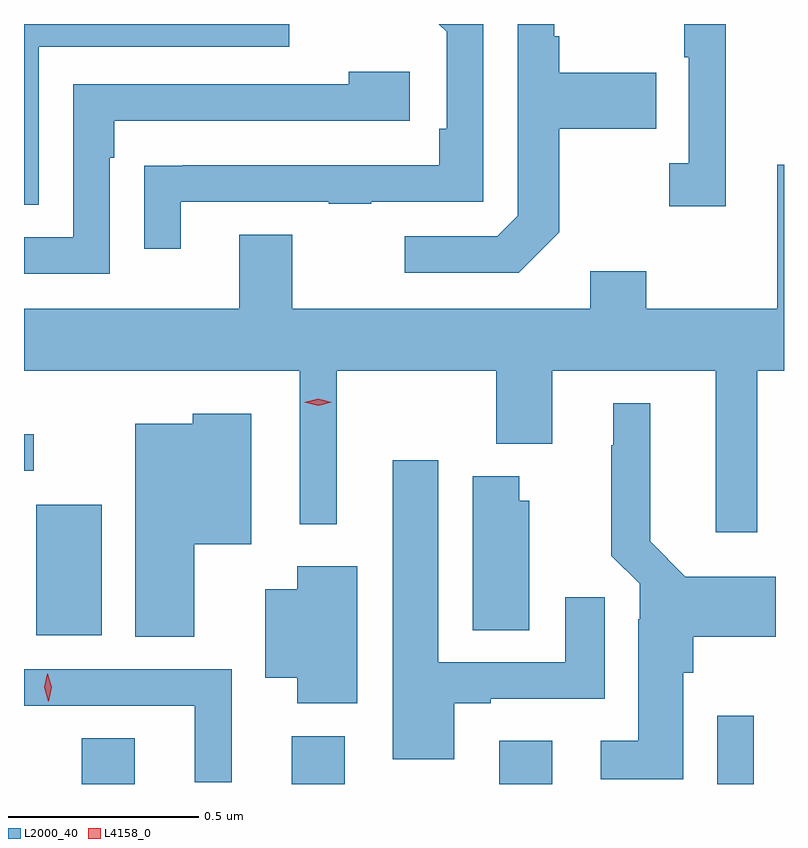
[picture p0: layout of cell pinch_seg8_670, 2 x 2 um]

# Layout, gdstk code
import gdstk
lib = gdstk.Library(unit=1e-6, precision=1e-09)
def R(c, l, rs):  # rectangles x0, y0, x1, y1
    for r in rs: c.add(gdstk.rectangle(r[:2], r[2:], *l))
def P(c, l, *ps):  # polygons
    for p in ps: c.add(gdstk.Polygon(p, *l))
L2000_40 = (2000, 40)
L4158_0 = (4158, 0)

pinch_seg8_670 = lib.new_cell('pinch_seg8_670')
R(pinch_seg8_670, L2000_40, [(245.363,1115.413,245.503,1115.534), (245.915,1115.413,246.055,1115.539), (246.461,1115.413,246.601,1115.527), (247.035,1115.413,247.132,1115.593), (245.243,1115.804,245.416,1116.148), (245.211,1116.237,245.236,1116.334)])
P(pinch_seg8_670, L2000_40, [(246.619,1116.865),(246.619,1117.138),(246.875,1117.138),(246.875,1117.285),(246.619,1117.285),(246.619,1117.381),(246.606,1117.381),(246.606,1117.413),(246.51,1117.413),(246.51,1116.909),(246.456,1116.855),(246.213,1116.855),(246.213,1116.759),(246.513,1116.759)],
  [(245.25,1117.353),(245.909,1117.353),(245.909,1117.413),(245.211,1117.413),(245.211,1116.937),(245.25,1116.937)],
  [(247.058,1117.413),(246.948,1117.413),(246.948,1117.325),(246.96,1117.325),(246.96,1117.046),(246.909,1117.046),(246.909,1116.933),(247.058,1116.933)],
  [(245.623,1116.945),(246.013,1116.945),(246.013,1116.94),(246.125,1116.94),(246.125,1116.945),(246.42,1116.945),(246.42,1117.413),(246.303,1117.413),(246.324,1117.392),(246.324,1117.138),(246.304,1117.138),(246.304,1117.041),(245.629,1117.041),(245.629,1117.04),(245.527,1117.04),(245.527,1116.822),(245.623,1116.822)],
  [(245.436,1117.061),(245.449,1117.061),(245.449,1117.158),(246.226,1117.158),(246.226,1117.288),(246.065,1117.288),(246.065,1117.254),(245.34,1117.254),(245.34,1116.852),(245.211,1116.852),(245.211,1116.756),(245.436,1116.756)],
  [(247.141,1116.5),(247.211,1116.5),(247.211,1117.042),(247.193,1117.042),(247.193,1116.664),(246.849,1116.664),(246.849,1116.763),(246.701,1116.763),(246.701,1116.664),(245.917,1116.664),(245.917,1116.859),(245.777,1116.859),(245.777,1116.664),(245.211,1116.664),(245.211,1116.5),(245.937,1116.5),(245.937,1116.096),(246.034,1116.096),(246.034,1116.5),(246.454,1116.5),(246.454,1116.308),(246.601,1116.308),(246.601,1116.5),(247.031,1116.5),(247.031,1116.075),(247.141,1116.075)],
  [(246.946,1115.706),(246.972,1115.706),(246.972,1115.801),(247.189,1115.801),(247.189,1115.959),(246.951,1115.959),(246.859,1116.052),(246.859,1116.415),(246.761,1116.415),(246.761,1116.305),(246.757,1116.305),(246.757,1116.014),(246.831,1115.94),(246.831,1115.846),(246.827,1115.846),(246.827,1115.527),(246.729,1115.527),(246.729,1115.426),(246.946,1115.426)],
  [(245.659,1116.044),(245.809,1116.044),(245.809,1116.388),(245.655,1116.388),(245.655,1116.361),(245.504,1116.361),(245.504,1115.8),(245.659,1115.8)],
  [(246.343,1115.625),(246.439,1115.625),(246.439,1115.637),(246.739,1115.637),(246.739,1115.905),(246.635,1115.905),(246.635,1115.733),(246.301,1115.733),(246.301,1116.265),(246.182,1116.265),(246.182,1115.478),(246.343,1115.478)],
  [(246.541,1116.159),(246.514,1116.159),(246.514,1116.223),(246.392,1116.223),(246.392,1115.818),(246.541,1115.818)],
  [(246.088,1115.986),(245.93,1115.986),(245.93,1115.926),(245.846,1115.926),(245.846,1115.693),(245.93,1115.693),(245.93,1115.625),(246.088,1115.625)],
  [(245.758,1115.715),(245.211,1115.715),(245.211,1115.619),(245.66,1115.619),(245.66,1115.418),(245.758,1115.418)])
P(pinch_seg8_670, L4158_0, [(245.985,1116.408),(245.949,1116.418),(245.949,1116.418),(245.949,1116.418),(245.985,1116.427),(246.021,1116.417),(246.021,1116.417),(246.021,1116.417)],
  [(245.275,1115.631),(245.275,1115.631),(245.264,1115.667),(245.272,1115.703),(245.272,1115.703),(245.273,1115.703),(245.284,1115.667),(245.276,1115.631)])

lib.write_gds('pinch_seg8_670.gds')
